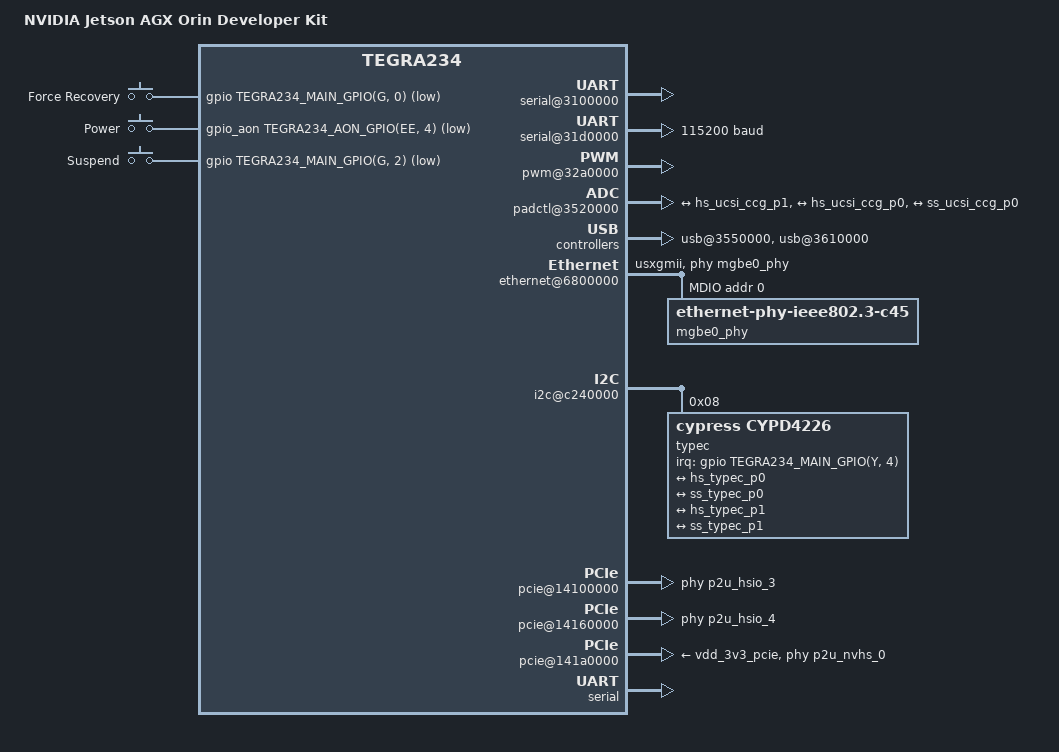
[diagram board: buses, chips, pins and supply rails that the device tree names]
// SPDX-License-Identifier: GPL-2.0
/dts-v1/;

#include <dt-bindings/input/linux-event-codes.h>
#include <dt-bindings/input/gpio-keys.h>

#include "tegra234-p3701-0000.dtsi"
#include "tegra234-p3737-0000.dtsi"

/ {
	model = "NVIDIA Jetson AGX Orin Developer Kit";
	compatible = "nvidia,p3737-0000+p3701-0000", "nvidia,p3701-0000", "nvidia,tegra234";

	reserved-memory {
		#address-cells = <2>;
		#size-cells = <2>;
		ranges;

		fb: framebuffer@0 {
			compatible = "framebuffer";
			reg = <0x0 0x0 0x0 0x0>;
			iommu-addresses = <&dc0 0x0 0x0 0x0 0x0>;
		};
	};

	aliases {
		mmc3 = "/bus@0/mmc@3460000";
		serial0 = &tcu;
		serial1 = &uarta;
	};

	chosen {
		stdout-path = "serial0:115200n8";

		framebuffer {
			compatible = "simple-framebuffer";
			status = "disabled";
			memory-region = <&fb>;
			power-domains = <&bpmp TEGRA234_POWER_DOMAIN_DISP>;
			clocks = <&bpmp TEGRA234_CLK_HUB>,
				 <&bpmp TEGRA234_CLK_DISP>,
				 <&bpmp TEGRA234_CLK_NVDISPLAY_P0>,
				 <&bpmp TEGRA234_CLK_DPAUX>,
				 <&bpmp TEGRA234_CLK_DISPPLL>,
				 <&bpmp TEGRA234_CLK_DISPHUBPLL>,
				 /* MORE!!! */
				 <&bpmp TEGRA234_CLK_NVDISPLAY_P1>,
				 <&bpmp TEGRA234_CLK_FUSE>,
				 <&bpmp TEGRA234_CLK_DSIPLL_VCO>,
				 <&bpmp TEGRA234_CLK_DSIPLL_CLKOUTPN>,
				 <&bpmp TEGRA234_CLK_DSIPLL_CLKOUTA>,
				 <&bpmp TEGRA234_CLK_SPPLL0_VCO>,
				 <&bpmp TEGRA234_CLK_SPPLL0_CLKOUTPN>,
				 <&bpmp TEGRA234_CLK_SPPLL0_CLKOUTA>,
				 <&bpmp TEGRA234_CLK_SPPLL0_CLKOUTB>,
				 <&bpmp TEGRA234_CLK_SPPLL0_DIV10>,
				 <&bpmp TEGRA234_CLK_SPPLL0_DIV25>,
				 <&bpmp TEGRA234_CLK_SPPLL0_DIV27PN>,
				 <&bpmp TEGRA234_CLK_SPPLL1_VCO>,
				 <&bpmp TEGRA234_CLK_SPPLL1_CLKOUTPN>,
				 <&bpmp TEGRA234_CLK_SPPLL1_DIV27PN>,
				 <&bpmp TEGRA234_CLK_VPLL0_REF>,
				 <&bpmp TEGRA234_CLK_VPLL0>,
				 <&bpmp TEGRA234_CLK_VPLL1>,
				 <&bpmp TEGRA234_CLK_NVDISPLAY_P0_REF>,
				 <&bpmp TEGRA234_CLK_RG0>,
				 <&bpmp TEGRA234_CLK_RG1>,
				 <&bpmp TEGRA234_CLK_DSI_LP>,
				 <&bpmp TEGRA234_CLK_DSI_CORE>,
				 <&bpmp TEGRA234_CLK_DSI_PIXEL>,
				 <&bpmp TEGRA234_CLK_PRE_SOR0>,
				 <&bpmp TEGRA234_CLK_PRE_SOR1>,
				 <&bpmp TEGRA234_CLK_DP_LINK_REF>,
				 <&bpmp TEGRA234_CLK_SOR_LINKA_INPUT>,
				 <&bpmp TEGRA234_CLK_SOR_LINKA_AFIFO>,
				 <&bpmp TEGRA234_CLK_SOR_LINKA_AFIFO_M>,
				 <&bpmp TEGRA234_CLK_RG0_M>,
				 <&bpmp TEGRA234_CLK_RG1_M>,
				 <&bpmp TEGRA234_CLK_SOR0_M>,
				 <&bpmp TEGRA234_CLK_SOR1_M>,
				 <&bpmp TEGRA234_CLK_PLLHUB>,
				 <&bpmp TEGRA234_CLK_SOR0>,
				 <&bpmp TEGRA234_CLK_SOR1>,
				 <&bpmp TEGRA234_CLK_SOR_PAD_INPUT>,
				 <&bpmp TEGRA234_CLK_PRE_SF0>,
				 <&bpmp TEGRA234_CLK_SF0>,
				 <&bpmp TEGRA234_CLK_SF1>,
				 <&bpmp TEGRA234_CLK_DSI_PAD_INPUT>,
				 <&bpmp TEGRA234_CLK_PRE_SOR0_REF>,
				 <&bpmp TEGRA234_CLK_PRE_SOR1_REF>,
				 <&bpmp TEGRA234_CLK_SOR0_PLL_REF>,
				 <&bpmp TEGRA234_CLK_SOR1_PLL_REF>,
				 <&bpmp TEGRA234_CLK_SOR0_REF>,
				 <&bpmp TEGRA234_CLK_SOR1_REF>,
				 <&bpmp TEGRA234_CLK_OSC>,
				 <&bpmp TEGRA234_CLK_DSC>,
				 <&bpmp TEGRA234_CLK_MAUD>,
				 <&bpmp TEGRA234_CLK_AZA_2XBIT>,
				 <&bpmp TEGRA234_CLK_AZA_BIT>,
				 <&bpmp TEGRA234_CLK_MIPI_CAL>,
				 <&bpmp TEGRA234_CLK_UART_FST_MIPI_CAL>,
				 <&bpmp TEGRA234_CLK_SOR0_DIV>;
			/*
			resets = <&bpmp TEGRA234_RESET_NVDISPLAY>,
				 <&bpmp TEGRA234_RESET_DPAUX>,
				 <&bpmp TEGRA234_RESET_DSI_CORE>,
				 <&bpmp TEGRA234_RESET_MIPI_CAL>;
			*/
			width = <0>;
			height = <0>;
			stride = <0>;
			format = "x8r8g8b8";
		};
	};

	bus@0 {
		serial@3100000 {
			compatible = "nvidia,tegra194-hsuart";
			reset-names = "serial";
			status = "okay";
		};

		serial@31d0000 {
			current-speed = <115200>;
			status = "okay";
		};

		pwm@32a0000 {
			assigned-clocks = <&bpmp TEGRA234_CLK_PWM3>;
			assigned-clock-parents = <&bpmp TEGRA234_CLK_PLLP_OUT0>;
			status = "okay";
		};

		hda@3510000 {
			nvidia,model = "NVIDIA Jetson AGX Orin HDA";
			status = "okay";
		};

		padctl@3520000 {
			status = "okay";

			pads {
				usb2 {
					lanes {
						usb2-0 {
							status = "okay";
						};

						usb2-1 {
							status = "okay";
						};

						usb2-2 {
							status = "okay";
						};

						usb2-3 {
							status = "okay";
						};
					};
				};

				usb3 {
					lanes {
						usb3-0 {
							status = "okay";
						};

						usb3-1 {
							status = "okay";
						};

						usb3-2 {
							status = "okay";
						};
					};
				};
			};

			ports {
				usb2-0 {
					mode = "otg";
					usb-role-switch;
					status = "okay";

					port {
						hs_typec_p1: endpoint {
							remote-endpoint = <&hs_ucsi_ccg_p1>;
						};
					};
				};

				usb2-1 {
					mode = "host";
					status = "okay";

					port {
						hs_typec_p0: endpoint {
							remote-endpoint = <&hs_ucsi_ccg_p0>;
						};
					};
				};

				usb2-2 {
					mode = "host";
					status = "okay";
				};

				usb2-3 {
					mode = "host";
					status = "okay";
				};

				usb3-0 {
					nvidia,usb2-companion = <1>;
					status = "okay";

					port {
						ss_typec_p0: endpoint {
							remote-endpoint = <&ss_ucsi_ccg_p0>;
						};
					};
				};

				usb3-1 {
					nvidia,usb2-companion = <0>;
					status = "okay";

					port {
						ss_typec_p1: endpoint {
							remote-endpoint = <&ss_ucsi_ccg_p1>;
						};
					};
				};

				usb3-2 {
					nvidia,usb2-companion = <3>;
					status = "okay";
				};
			};
		};

		usb@3550000 {
			status = "okay";

			phys = <&{/bus@0/padctl@3520000/pads/usb2/lanes/usb2-0}>,
			       <&{/bus@0/padctl@3520000/pads/usb3/lanes/usb3-1}>;
			phy-names = "usb2-0", "usb3-0";
		};

		usb@3610000 {
			status = "okay";

			phys = <&{/bus@0/padctl@3520000/pads/usb2/lanes/usb2-0}>,
			       <&{/bus@0/padctl@3520000/pads/usb2/lanes/usb2-1}>,
			       <&{/bus@0/padctl@3520000/pads/usb2/lanes/usb2-2}>,
			       <&{/bus@0/padctl@3520000/pads/usb2/lanes/usb2-3}>,
			       <&{/bus@0/padctl@3520000/pads/usb3/lanes/usb3-0}>,
			       <&{/bus@0/padctl@3520000/pads/usb3/lanes/usb3-1}>,
			       <&{/bus@0/padctl@3520000/pads/usb3/lanes/usb3-2}>;
			phy-names = "usb2-0", "usb2-1", "usb2-2", "usb2-3",
				    "usb3-0", "usb3-1", "usb3-2";
		};

		ethernet@6800000 {
			status = "okay";

			phy-handle = <&mgbe0_phy>;
			phy-mode = "usxgmii";

			mdio {
				#address-cells = <1>;
				#size-cells = <0>;

				mgbe0_phy: phy@0 {
					compatible = "ethernet-phy-ieee802.3-c45";
					reg = <0x0>;

					#phy-cells = <0>;
				};
			};
		};

		i2c@c240000 {
			status = "okay";

			typec@8 {
				compatible = "cypress,cypd4226";
				reg = <0x08>;
				interrupt-parent = <&gpio>;
				interrupts = <TEGRA234_MAIN_GPIO(Y, 4) IRQ_TYPE_LEVEL_LOW>;
				firmware-name = "nvidia,jetson-agx-xavier";
				status = "okay";

				#address-cells = <1>;
				#size-cells = <0>;

				ccg_typec_con0: connector@0 {
					compatible = "usb-c-connector";
					reg = <0>;
					label = "USB-C";
					data-role = "host";

					ports {
						#address-cells = <1>;
						#size-cells = <0>;

						port@0 {
							reg = <0>;

							hs_ucsi_ccg_p0: endpoint {
								remote-endpoint = <&hs_typec_p0>;
							};
						};

						port@1 {
							reg = <1>;

							ss_ucsi_ccg_p0: endpoint {
								remote-endpoint = <&ss_typec_p0>;
							};
						};
					};
				};

				ccg_typec_con1: connector@1 {
					compatible = "usb-c-connector";
					reg = <1>;
					label = "USB-C";
					data-role = "dual";

					ports {
						#address-cells = <1>;
						#size-cells = <0>;

						port@0 {
							reg = <0>;

							hs_ucsi_ccg_p1: endpoint {
								remote-endpoint = <&hs_typec_p1>;
							};
						};

						port@1 {
							reg = <1>;

							ss_ucsi_ccg_p1: endpoint {
								remote-endpoint = <&ss_typec_p1>;
							};
						};
					};
				};
			};
		};

		display-hub@13800000 {
			display@13800000 {
				memory-region = <&fb>;
			};
		};

		pcie@14100000 {
			status = "okay";

			vddio-pex-ctl-supply = <&vdd_1v8_ao>;

			phys = <&p2u_hsio_3>;
			phy-names = "p2u-0";
		};

		pcie@14160000 {
			status = "okay";

			vddio-pex-ctl-supply = <&vdd_1v8_ao>;

			phys = <&p2u_hsio_4>, <&p2u_hsio_5>, <&p2u_hsio_6>,
			       <&p2u_hsio_7>;
			phy-names = "p2u-0", "p2u-1", "p2u-2", "p2u-3";
		};

		pcie@141a0000 {
			status = "okay";

			vddio-pex-ctl-supply = <&vdd_1v8_ls>;
			vpcie3v3-supply = <&vdd_3v3_pcie>;
			vpcie12v-supply = <&vdd_12v_pcie>;

			phys = <&p2u_nvhs_0>, <&p2u_nvhs_1>, <&p2u_nvhs_2>,
			       <&p2u_nvhs_3>, <&p2u_nvhs_4>, <&p2u_nvhs_5>,
			       <&p2u_nvhs_6>, <&p2u_nvhs_7>;
			phy-names = "p2u-0", "p2u-1", "p2u-2", "p2u-3", "p2u-4",
				    "p2u-5", "p2u-6", "p2u-7";
		};

		pcie-ep@141a0000 {
			status = "disabled";

			vddio-pex-ctl-supply = <&vdd_1v8_ls>;

			reset-gpios = <&gpio TEGRA234_MAIN_GPIO(AF, 1) GPIO_ACTIVE_LOW>;

			nvidia,refclk-select-gpios = <&gpio_aon
						      TEGRA234_AON_GPIO(AA, 4)
						      GPIO_ACTIVE_HIGH>;

			phys = <&p2u_nvhs_0>, <&p2u_nvhs_1>, <&p2u_nvhs_2>,
			       <&p2u_nvhs_3>, <&p2u_nvhs_4>, <&p2u_nvhs_5>,
			       <&p2u_nvhs_6>, <&p2u_nvhs_7>;
			phy-names = "p2u-0", "p2u-1", "p2u-2", "p2u-3", "p2u-4",
				    "p2u-5", "p2u-6", "p2u-7";
		};
	};

	gpio-keys {
		compatible = "gpio-keys";
		status = "okay";

		key-force-recovery {
			label = "Force Recovery";
			gpios = <&gpio TEGRA234_MAIN_GPIO(G, 0) GPIO_ACTIVE_LOW>;
			linux,input-type = <EV_KEY>;
			linux,code = <BTN_1>;
		};

		key-power {
			label = "Power";
			gpios = <&gpio_aon TEGRA234_AON_GPIO(EE, 4) GPIO_ACTIVE_LOW>;
			linux,input-type = <EV_KEY>;
			linux,code = <KEY_POWER>;
			wakeup-event-action = <EV_ACT_ASSERTED>;
			wakeup-source;
		};

		key-suspend {
			label = "Suspend";
			gpios = <&gpio TEGRA234_MAIN_GPIO(G, 2) GPIO_ACTIVE_LOW>;
			linux,input-type = <EV_KEY>;
			linux,code = <KEY_SLEEP>;
		};
	};

	pwm-fan {
		cooling-levels = <66 215 255>;
	};

	serial {
		status = "okay";
	};

	sound {
		compatible = "nvidia,tegra186-audio-graph-card";
		status = "okay";

		dais = /* ADMAIF (FE) Ports */
		       <&admaif0_port>, <&admaif1_port>, <&admaif2_port>, <&admaif3_port>,
		       <&admaif4_port>, <&admaif5_port>, <&admaif6_port>, <&admaif7_port>,
		       <&admaif8_port>, <&admaif9_port>, <&admaif10_port>, <&admaif11_port>,
		       <&admaif12_port>, <&admaif13_port>, <&admaif14_port>, <&admaif15_port>,
		       <&admaif16_port>, <&admaif17_port>, <&admaif18_port>, <&admaif19_port>,
		       /* XBAR Ports */
		       <&xbar_i2s1_port>, <&xbar_i2s2_port>, <&xbar_i2s4_port>,
		       <&xbar_i2s6_port>, <&xbar_dmic3_port>,
		       <&xbar_sfc1_in_port>, <&xbar_sfc2_in_port>,
		       <&xbar_sfc3_in_port>, <&xbar_sfc4_in_port>,
		       <&xbar_mvc1_in_port>, <&xbar_mvc2_in_port>,
		       <&xbar_amx1_in1_port>, <&xbar_amx1_in2_port>,
		       <&xbar_amx1_in3_port>, <&xbar_amx1_in4_port>,
		       <&xbar_amx2_in1_port>, <&xbar_amx2_in2_port>,
		       <&xbar_amx2_in3_port>, <&xbar_amx2_in4_port>,
		       <&xbar_amx3_in1_port>, <&xbar_amx3_in2_port>,
		       <&xbar_amx3_in3_port>, <&xbar_amx3_in4_port>,
		       <&xbar_amx4_in1_port>, <&xbar_amx4_in2_port>,
		       <&xbar_amx4_in3_port>, <&xbar_amx4_in4_port>,
		       <&xbar_adx1_in_port>, <&xbar_adx2_in_port>,
		       <&xbar_adx3_in_port>, <&xbar_adx4_in_port>,
		       <&xbar_mix_in1_port>, <&xbar_mix_in2_port>,
		       <&xbar_mix_in3_port>, <&xbar_mix_in4_port>,
		       <&xbar_mix_in5_port>, <&xbar_mix_in6_port>,
		       <&xbar_mix_in7_port>, <&xbar_mix_in8_port>,
		       <&xbar_mix_in9_port>, <&xbar_mix_in10_port>,
		       <&xbar_asrc_in1_port>, <&xbar_asrc_in2_port>,
		       <&xbar_asrc_in3_port>, <&xbar_asrc_in4_port>,
		       <&xbar_asrc_in5_port>, <&xbar_asrc_in6_port>,
		       <&xbar_asrc_in7_port>,
		       <&xbar_ope1_in_port>,
		       /* HW accelerators */
		       <&sfc1_out_port>, <&sfc2_out_port>,
		       <&sfc3_out_port>, <&sfc4_out_port>,
		       <&mvc1_out_port>, <&mvc2_out_port>,
		       <&amx1_out_port>, <&amx2_out_port>,
		       <&amx3_out_port>, <&amx4_out_port>,
		       <&adx1_out1_port>, <&adx1_out2_port>,
		       <&adx1_out3_port>, <&adx1_out4_port>,
		       <&adx2_out1_port>, <&adx2_out2_port>,
		       <&adx2_out3_port>, <&adx2_out4_port>,
		       <&adx3_out1_port>, <&adx3_out2_port>,
		       <&adx3_out3_port>, <&adx3_out4_port>,
		       <&adx4_out1_port>, <&adx4_out2_port>,
		       <&adx4_out3_port>, <&adx4_out4_port>,
		       <&mix_out1_port>, <&mix_out2_port>, <&mix_out3_port>,
		       <&mix_out4_port>, <&mix_out5_port>,
		       <&asrc_out1_port>, <&asrc_out2_port>, <&asrc_out3_port>,
		       <&asrc_out4_port>, <&asrc_out5_port>, <&asrc_out6_port>,
		       <&ope1_out_port>,
		       /* BE I/O Ports */
		       <&i2s1_port>, <&i2s2_port>, <&i2s4_port>, <&i2s6_port>,
		       <&dmic3_port>;

		label = "NVIDIA Jetson AGX Orin APE";

		widgets = "Microphone",	"CVB-RT MIC Jack",
			  "Microphone",	"CVB-RT MIC",
			  "Headphone",	"CVB-RT HP Jack",
			  "Speaker",	"CVB-RT SPK";

		routing = /* I2S1 <-> RT5640 */
			  "CVB-RT AIF1 Playback",	"I2S1 DAP-Playback",
			  "I2S1 DAP-Capture",		"CVB-RT AIF1 Capture",
			  /* RT5640 codec controls */
			  "CVB-RT HP Jack",		"CVB-RT HPOL",
			  "CVB-RT HP Jack",		"CVB-RT HPOR",
			  "CVB-RT IN1P",		"CVB-RT MIC Jack",
			  "CVB-RT IN2P",		"CVB-RT MIC Jack",
			  "CVB-RT SPK",			"CVB-RT SPOLP",
			  "CVB-RT SPK",			"CVB-RT SPORP",
			  "CVB-RT DMIC1",		"CVB-RT MIC",
			  "CVB-RT DMIC2",		"CVB-RT MIC";
	};

	thermal-zones {
		tj-thermal {
			cooling-maps {
				map-active-0 {
					cooling-device = <&fan 0 1>;
					trip = <&tj_trip_active0>;
				};

				map-active-1 {
					cooling-device = <&fan 1 2>;
					trip = <&tj_trip_active1>;
				};
			};
		};

		tboard-thermal {
			polling-delay = <1000>;
			polling-delay-passive = <1000>;
			thermal-sensors = <&tmp451 0>;
			status = "okay";

			trips {
				critical {
					temperature = <107000>;
					hysteresis = <0>;
					type = "critical";
				};
			};
		};

		tdiode-thermal {
			polling-delay = <1000>;
			polling-delay-passive = <1000>;
			thermal-sensors = <&tmp451 1>;
			status = "okay";

			trips {
				critical {
					temperature = <107000>;
					hysteresis = <0>;
					type = "critical";
				};
			};
		};
	};
};
